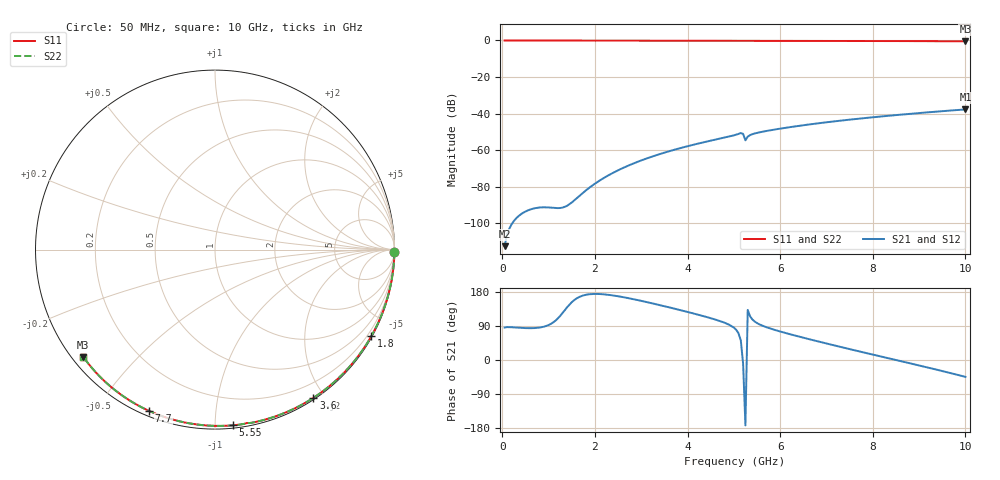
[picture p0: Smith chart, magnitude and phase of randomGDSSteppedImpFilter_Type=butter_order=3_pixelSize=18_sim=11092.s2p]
! freq	dB(S11)	phase(S11)	dB(S12)	phase(S12)
!  dB(S21)	phase(S21)	dB(S22)	phase(S22)
!S-par simulation data
#  GHz  S  DB  R 50
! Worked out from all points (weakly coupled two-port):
!   200 points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, 50 MHz to 10 GHz, reference 50 ohm
!   highest |S21| = -37.71 dB at 10 GHz (marker M1); lowest = -112.4 dB at 50 MHz (marker M2)
!   lowest |S11| = -0.5 dB at 10 GHz (marker M3), VSWR 36.40, Z = 1.55 - j17.8 ohm
!   |S11| at or under -10 dB: nowhere
!   |S22| runs from -0.5 to 0.0 dB; largest |S21 - S12| = 0
!   S11 on the Smith chart (normalised r, x): 50 MHz: open; 1.8 GHz: 0.03, -3.88; 3.6 GHz: 0.02, -1.86; 5.55 GHz: 0.02, -1.11; 7.7 GHz: 0.02, -0.67; 10 GHz: 0.03, -0.36
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0.05  -0.00 -0.8  -112.45 85.6  -112.45 85.6  -0.00 -0.8
0.9  -0.02 -14.6  -91.19 87.9  -91.19 87.9  -0.02 -14.6
1.75  -0.04 -28.1  -83.12 170.4  -83.12 170.4  -0.04 -28.1
1.8  -0.04 -28.9  -82.07 171.9  -82.07 171.9  -0.04 -28.9
1.9  -0.04 -30.5  -80.11 173.7  -80.11 173.7  -0.04 -30.5
2.25  -0.05 -35.9  -74.31 172.6  -74.31 172.6  -0.05 -35.9
2.65  -0.05 -42.1  -69.19 164.9  -69.19 164.9  -0.05 -42.1
3  -0.06 -47.4  -65.58 156.1  -65.58 156.1  -0.06 -47.4
3.4  -0.07 -53.4  -62.11 144.9  -62.11 144.9  -0.07 -53.5
3.6  -0.08 -56.4  -60.57 139.0  -60.57 139.0  -0.08 -56.4
4.3  -0.09 -66.6  -55.95 117.2  -55.95 117.2  -0.09 -66.6
5.05  -0.12 -77.3  -51.53 79.8  -51.53 79.8  -0.12 -77.3
5.15  -0.13 -78.7  -50.61 52.1  -50.61 52.1  -0.13 -78.8
5.2  -0.15 -79.4  -51.03 -9.4  -51.03 -9.4  -0.15 -79.5
5.25  -0.15 -79.9  -54.59 -172.6  -54.59 -172.6  -0.15 -79.9
5.3  -0.14 -80.6  -52.60 132.2  -52.60 132.2  -0.14 -80.6
5.35  -0.13 -81.3  -51.73 115.4  -51.73 115.4  -0.13 -81.3
5.55  -0.14 -84.1  -50.24 94.2  -50.24 94.2  -0.14 -84.1
6.7  -0.19 -99.4  -45.68 52.7  -45.68 52.7  -0.19 -99.5
7.7  -0.26 -112.3  -42.75 22.9  -42.75 22.9  -0.26 -112.3
8.35  -0.31 -120.4  -41.14 4.2  -41.14 4.2  -0.31 -120.5
10  -0.48 -140.8  -37.71 -44.5  -37.71 -44.5  -0.48 -140.9
